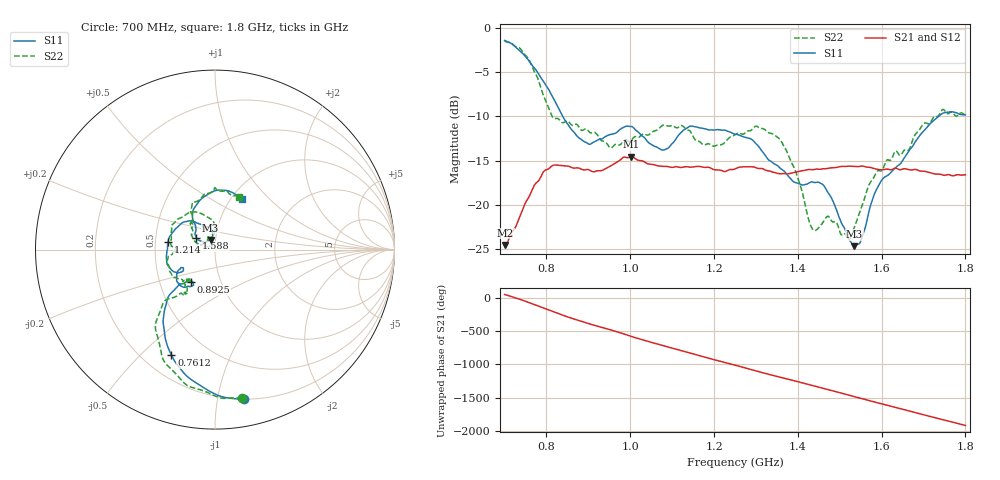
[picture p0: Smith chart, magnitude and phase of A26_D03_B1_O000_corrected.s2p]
! Created with skrf 1.9.0 (http://scikit-rf.org).
# Hz S RI R 50.0
!freq ReS11 ImS11 ReS21 ImS21 ReS12 ImS12 ReS22 ImS22
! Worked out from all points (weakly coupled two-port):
!   1601 points, 700 MHz to 1.8 GHz, reference 50 ohm
!   highest |S21| = -14.57 dB at 1.002 GHz (marker M1); lowest = -24.5 dB at 701.4 MHz (marker M2)
!   lowest |S11| = -24.7 dB at 1.535 GHz (marker M3), VSWR 1.12, Z = 47.4 + j5.03 ohm
!   |S11| at or under -10 dB: 838.8 MHz to 1.736 GHz (897 MHz wide, 69.7 % of centre)
!   |S22| runs from -23.9 to -1.5 dB; largest |S21 - S12| = 0.0035
!   S11 on the Smith chart (normalised r, x): 700 MHz: 0.20, -1.19; 761.2 MHz: 0.32, -0.62; 892.5 MHz: 0.72, -0.27; 1.214 GHz: 0.58, +0.05; 1.588 GHz: 0.81, +0.11; 1.8 GHz: 1.12, +0.71
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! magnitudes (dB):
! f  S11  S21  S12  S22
! 700 MHz  -1.4  -24.5  -24.3  -1.5
! 701.4 MHz  -1.4  -24.5  -24.2  -1.5
! 761.2 MHz  -3.9  -18.8  -18.7  -3.9
! 814.8 MHz  -7.8  -15.6  -15.6  -10.1
! 883.6 MHz  -12.6  -16.0  -15.9  -11.6
! 892.5 MHz  -12.9  -16.0  -16.1  -11.4
! 953 MHz  -12.0  -15.6  -15.6  -13.6
! 1.002 GHz  -11.1  -14.6  -14.7  -12.7
! 1.067 GHz  -13.6  -15.6  -15.5  -11.4
! 1.142 GHz  -11.1  -15.7  -15.7  -11.6
! 1.214 GHz  -11.5  -16.1  -16.1  -13.2
! 1.25 GHz  -12.0  -15.9  -15.9  -12.1
! 1.357 GHz  -15.8  -16.5  -16.4  -12.6
! 1.396 GHz  -17.5  -16.3  -16.3  -16.3
! 1.434 GHz  -17.4  -16.0  -16.0  -22.7
! 1.464 GHz  -18.0  -15.9  -15.9  -21.6
! 1.521 GHz  -23.8  -15.6  -15.6  -23.8
! 1.535 GHz  -24.7  -15.7  -15.7  -22.6
! 1.588 GHz  -18.2  -16.0  -16.0  -16.3
! 1.617 GHz  -16.6  -16.0  -16.0  -15.0
! 1.738 GHz  -9.9  -16.5  -16.6  -9.8
! 1.8 GHz  -9.8  -16.6  -16.6  -9.9
